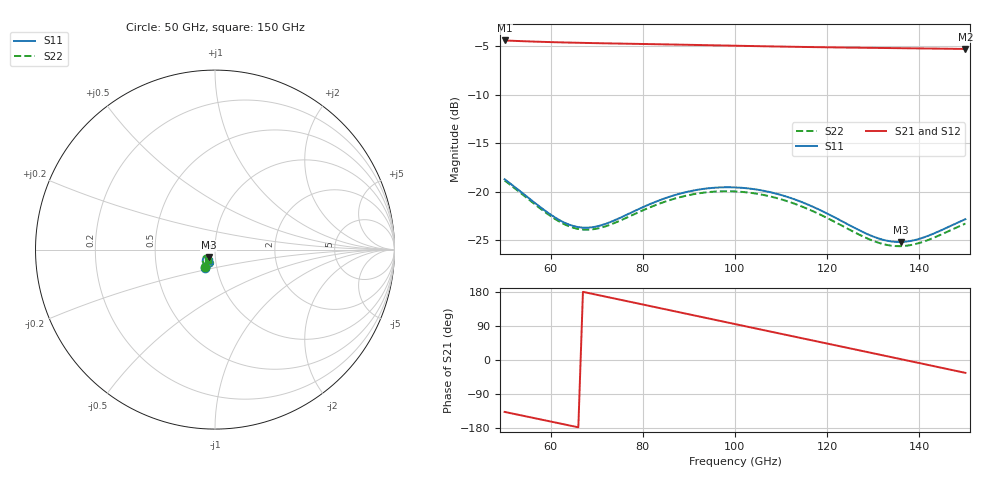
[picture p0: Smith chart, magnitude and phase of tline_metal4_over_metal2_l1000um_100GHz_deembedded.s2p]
! Created with skrf 2.0.1 (http://scikit-rf.org).
# GHz S DB R 50.0
!freq dBS11 angS11 dBS21 angS21 dBS12 angS12 dBS22 angS22
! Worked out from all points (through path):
!   101 points, 50 GHz to 150 GHz, reference 50 ohm
!   highest |S21| = -4.39 dB at 50 GHz (marker M1); lowest = -5.3 dB at 150 GHz (marker M2)
!   group delay of S21, straight-line fit = 7.14 ps
!   lowest |S11| = -25.2 dB at 136 GHz (marker M3), VSWR 1.12, Z = 46.4 - j3.9 ohm
!   |S11| at or under -10 dB: start of sweep to end of sweep
!   |S22| runs from -25.6 to -18.9 dB; largest |S21 - S12| = 6.8e-14
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50  -18.73 -119.9  -4.39 -137.0  -4.39 -137.0  -18.86 -120.5
55  -20.59 -122.9  -4.48 -149.7  -4.48 -149.7  -20.73 -123.7
59  -22.06 -121.6  -4.55 -159.8  -4.55 -159.8  -22.21 -122.6
63  -23.22 -116.6  -4.60 -170.0  -4.60 -170.0  -23.39 -117.9
67  -23.74 -109.1  -4.64 179.8  -4.64 179.8  -23.94 -110.7
71  -23.49 -102.1  -4.68 169.6  -4.68 169.6  -23.73 -104.0
75  -22.74 -98.2  -4.71 159.3  -4.71 159.3  -23.02 -100.2
79  -21.84 -97.6  -4.75 149.0  -4.75 149.0  -22.16 -99.8
84  -20.84 -100.6  -4.79 136.1  -4.79 136.1  -21.19 -102.8
92  -19.81 -109.9  -4.86 115.5  -4.86 115.5  -20.20 -112.4
96  -19.60 -115.6  -4.90 105.1  -4.90 105.1  -20.00 -118.3
100  -19.58 -121.5  -4.93 94.8  -4.93 94.8  -19.99 -124.3
104  -19.75 -127.4  -4.97 84.5  -4.97 84.5  -20.18 -130.3
108  -20.11 -132.9  -5.01 74.2  -5.01 74.2  -20.55 -135.9
112  -20.66 -137.7  -5.04 64.0  -5.04 64.0  -21.11 -141.0
117  -21.60 -142.4  -5.08 51.1  -5.08 51.1  -22.06 -145.8
126  -23.77 -143.6  -5.13 28.0  -5.13 28.0  -24.23 -147.3
130  -24.65 -139.9  -5.16 17.7  -5.16 17.7  -25.10 -143.7
134  -25.17 -133.7  -5.18 7.4  -5.18 7.4  -25.60 -137.8
136  -25.22 -130.1  -5.19 2.2  -5.19 2.2  -25.65 -134.4
143  -24.37 -120.2  -5.23 -15.8  -5.23 -15.8  -24.80 -125.0
150  -22.86 -118.0  -5.27 -34.0  -5.27 -34.0  -23.32 -123.3
